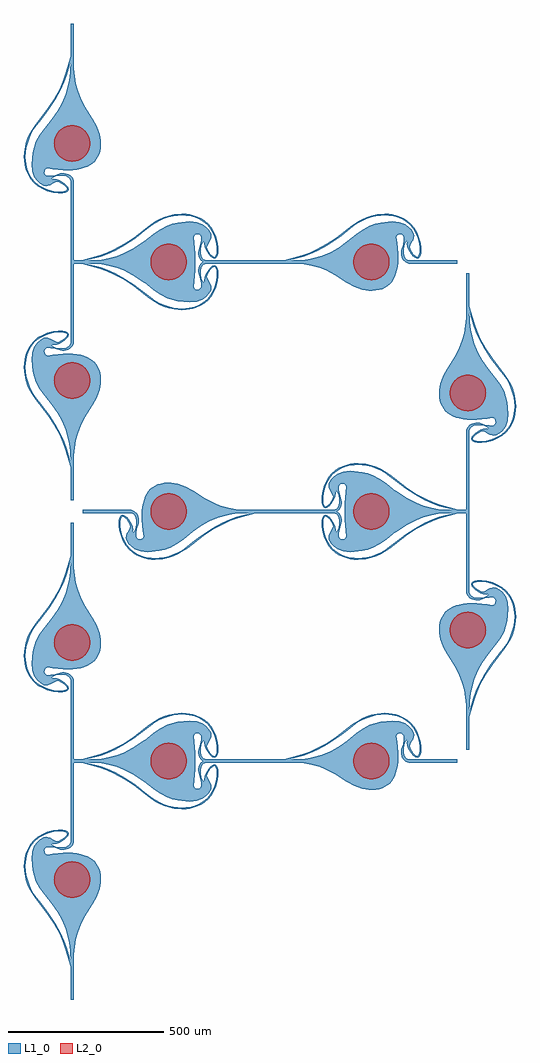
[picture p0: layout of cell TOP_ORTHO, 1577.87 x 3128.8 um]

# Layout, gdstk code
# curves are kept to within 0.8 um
from math import pi, radians
import gdstk
lib = gdstk.Library(unit=1e-6, precision=1e-09)
def R(c, l, rs):  # rectangles x0, y0, x1, y1
    for r in rs: c.add(gdstk.rectangle(r[:2], r[2:], *l))
def P(c, l, *ps):  # polygons
    for p in ps: c.add(gdstk.Polygon(p, *l))
L1_0 = (1, 0)
L2_0 = (2, 0)

network = lib.new_cell('NETWORK')
R(network, L1_0, [(-964.511,-764.401,-954.401,-684.401), (-964.511,684.401,-954.401,764.401)])
P(network, L1_0, [(195.591,-4.995),(120.058,-5.021),(110.872,-1.57),(102.58,5.22),(98.087,12.881),(95.188,24.691),(96.203,37.536),(101.431,54.653),(103.819,68.998),(104.388,80.725),(99.759,86.638),(107.162,81.625),(117.642,69.984),(109.311,62.052),(104.875,51.672),(103.181,39.579),(102.982,28.296),(105.252,19.326),(106.476,15.105),(111.172,9.114),(120.058,5.004),(195.607,5)],
  [(-304.401,5.055),(-212.49,6.7),(-194.618,9.967),(-158.072,20.102),(-130.295,31.756),(-104.294,46.08),(-28.202,103.116),(-4.748,116.035),(12.093,121.969),(29.946,126.092),(66.978,129.939),(89.639,127.445),(107.815,120.933),(120.445,111.69),(129.248,102.594),(136.278,90.425),(137.131,83.385),(136.278,77.228),(130.082,64.219),(117.642,69.984),(107.162,81.625),(95.596,88.651),(88.915,88.384),(83.392,85.713),(79.817,80.188),(84.517,44.342),(85.91,12.673),(83.996,-14.819),(78.773,-38.135),(70.243,-57.274),(58.405,-72.236),(43.26,-83.021),(24.807,-89.629),(3.047,-92.061),(-9.074,-91.71),(-29.325,-88.491),(-55.516,-79.23),(-78.163,-66.655),(-115.687,-42.773),(-144.572,-27.262),(-166.06,-18.969),(-191.816,-11.576),(-215.002,-7.742),(-240.125,-5.783),(-304.401,-5.055)],
  [(-263.67,5.041),(-278.766,5.044),(-221.005,21.817),(-198.32,29.804),(-174.344,40.317),(-142.962,57.572),(-112.162,78.167),(-61.065,117.225),(-42.83,129.712),(-29.428,137.356),(-14.99,143.497),(0.181,148.339),(18.408,152.322),(42.859,154.481),(67.499,152.377),(87.56,147.16),(104.407,139.537),(115.337,132.451),(126.247,122.852),(137.883,109.311),(146.904,93.227),(152.588,79.122),(157.621,59.849),(159.844,45.138),(159.65,29.909),(157.754,22.131),(154.553,15.862),(151.293,11.774),(146.582,10.508),(140.13,12.89),(127.85,24.606),(118.361,40.228),(115.353,49.493),(113.896,58.081),(114.449,64.58),(117.642,69.984),(130.082,64.219),(122.916,48.303),(123.942,41.344),(133.99,24.606),(139.843,19.298),(147.04,15.209),(151.851,20.701),(154.642,31.302),(154.741,45.699),(152.783,58.318),(147.882,77.189),(142.522,90.789),(133.439,106.537),(123.384,118.894),(111.612,129.152),(98.805,136.929),(82.984,143.468),(66.13,147.516),(55.008,148.889),(42.334,149.411),(29.464,148.627),(14.228,146.406),(-0.611,142.742),(-14.918,137.845),(-28.441,131.968),(-43.285,123.797),(-57.996,113.705),(-110.341,73.271),(-140.086,53.586),(-171.77,35.955),(-197.004,24.904),(-218.214,17.354)],
  [(-454.409,-4.995),(-529.942,-5.021),(-539.128,-1.57),(-547.42,5.22),(-551.913,12.881),(-554.812,24.691),(-553.797,37.536),(-548.569,54.653),(-546.181,68.998),(-545.612,80.725),(-550.241,86.638),(-542.838,81.625),(-532.358,69.984),(-540.689,62.052),(-545.125,51.672),(-546.819,39.579),(-547.018,28.296),(-544.748,19.326),(-543.524,15.105),(-538.828,9.114),(-529.942,5.004),(-454.393,5)],
  [(-954.401,5.055),(-862.49,6.7),(-844.618,9.967),(-808.072,20.102),(-780.295,31.756),(-754.294,46.08),(-678.202,103.116),(-654.748,116.035),(-637.907,121.969),(-620.054,126.092),(-583.022,129.939),(-560.361,127.445),(-542.185,120.933),(-529.555,111.69),(-520.752,102.594),(-513.722,90.425),(-512.869,83.385),(-513.722,77.228),(-519.918,64.219),(-532.358,69.984),(-542.838,81.625),(-554.404,88.651),(-561.085,88.384),(-566.608,85.713),(-570.183,80.188),(-565.483,44.342),(-564.09,12.673),(-566.004,-14.819),(-571.227,-38.135),(-579.757,-57.274),(-591.595,-72.236),(-606.74,-83.021),(-625.193,-89.629),(-646.953,-92.061),(-659.074,-91.71),(-679.325,-88.491),(-705.516,-79.23),(-728.163,-66.655),(-765.687,-42.773),(-794.572,-27.262),(-816.06,-18.969),(-841.816,-11.576),(-865.002,-7.742),(-890.125,-5.783),(-954.401,-5.055)],
  [(-913.67,5.041),(-928.766,5.044),(-871.005,21.817),(-848.32,29.804),(-824.344,40.317),(-792.962,57.572),(-762.162,78.167),(-711.065,117.225),(-692.83,129.712),(-679.428,137.356),(-664.99,143.497),(-649.819,148.339),(-631.592,152.322),(-607.141,154.481),(-582.501,152.377),(-562.44,147.16),(-545.593,139.537),(-534.663,132.451),(-523.753,122.852),(-512.117,109.311),(-503.096,93.227),(-497.412,79.122),(-492.379,59.849),(-490.156,45.138),(-490.35,29.909),(-492.246,22.131),(-495.447,15.862),(-498.707,11.774),(-503.418,10.508),(-509.87,12.89),(-522.15,24.606),(-531.639,40.228),(-534.647,49.493),(-536.104,58.081),(-535.551,64.58),(-532.358,69.984),(-519.918,64.219),(-527.084,48.303),(-526.058,41.344),(-516.01,24.606),(-510.157,19.298),(-502.96,15.209),(-498.149,20.701),(-495.358,31.302),(-495.259,45.699),(-497.217,58.318),(-502.118,77.189),(-507.478,90.789),(-516.561,106.537),(-526.616,118.894),(-538.388,129.152),(-551.195,136.929),(-567.016,143.468),(-583.87,147.516),(-594.992,148.889),(-607.666,149.411),(-620.536,148.627),(-635.772,146.406),(-650.611,142.742),(-664.918,137.845),(-678.441,131.968),(-693.285,123.797),(-707.996,113.705),(-760.341,73.271),(-790.086,53.586),(-821.77,35.955),(-847.004,24.904),(-868.214,17.354)],
  [(-454.409,4.995),(-529.942,5.021),(-539.128,1.57),(-547.42,-5.22),(-551.913,-12.881),(-554.812,-24.691),(-553.797,-37.536),(-548.569,-54.653),(-546.181,-68.998),(-545.612,-80.725),(-550.241,-86.638),(-542.838,-81.625),(-532.358,-69.984),(-540.689,-62.052),(-545.125,-51.672),(-546.819,-39.579),(-547.018,-28.296),(-544.748,-19.326),(-543.524,-15.105),(-538.828,-9.114),(-529.942,-5.004),(-454.393,-5)],
  [(-954.401,-5.055),(-862.49,-6.7),(-844.618,-9.967),(-808.072,-20.102),(-780.295,-31.756),(-754.294,-46.08),(-678.202,-103.116),(-654.748,-116.035),(-637.907,-121.969),(-620.054,-126.092),(-583.022,-129.939),(-560.361,-127.445),(-542.185,-120.933),(-529.555,-111.69),(-520.752,-102.594),(-513.722,-90.425),(-512.869,-83.385),(-513.722,-77.228),(-519.918,-64.219),(-532.358,-69.984),(-542.838,-81.625),(-554.404,-88.651),(-561.085,-88.384),(-566.608,-85.713),(-570.183,-80.188),(-565.483,-44.342),(-564.09,-12.673),(-566.004,14.819),(-571.227,38.135),(-579.757,57.274),(-591.595,72.236),(-606.74,83.021),(-625.193,89.629),(-646.953,92.061),(-659.074,91.71),(-679.325,88.491),(-705.516,79.23),(-728.163,66.655),(-765.687,42.773),(-794.572,27.262),(-816.06,18.969),(-841.816,11.576),(-865.002,7.742),(-890.125,5.783),(-954.401,5.055)],
  [(-913.67,-5.041),(-928.766,-5.044),(-871.005,-21.817),(-848.32,-29.804),(-824.344,-40.317),(-792.962,-57.572),(-762.162,-78.167),(-711.065,-117.225),(-692.83,-129.712),(-679.428,-137.356),(-664.99,-143.497),(-649.819,-148.339),(-631.592,-152.322),(-607.141,-154.481),(-582.501,-152.377),(-562.44,-147.16),(-545.593,-139.537),(-534.663,-132.451),(-523.753,-122.852),(-512.117,-109.311),(-503.096,-93.227),(-497.412,-79.122),(-492.379,-59.849),(-490.156,-45.138),(-490.35,-29.909),(-492.246,-22.131),(-495.447,-15.862),(-498.707,-11.774),(-503.418,-10.508),(-509.87,-12.89),(-522.15,-24.606),(-531.639,-40.228),(-534.647,-49.493),(-536.104,-58.081),(-535.551,-64.58),(-532.358,-69.984),(-519.918,-64.219),(-527.084,-48.303),(-526.058,-41.344),(-516.01,-24.606),(-510.157,-19.298),(-502.96,-15.209),(-498.149,-20.701),(-495.358,-31.302),(-495.259,-45.699),(-497.217,-58.318),(-502.118,-77.189),(-507.478,-90.789),(-516.561,-106.537),(-526.616,-118.894),(-538.388,-129.152),(-551.195,-136.929),(-567.016,-143.468),(-583.87,-147.516),(-594.992,-148.889),(-607.666,-149.411),(-620.536,-148.627),(-635.772,-146.406),(-650.611,-142.742),(-664.918,-137.845),(-678.441,-131.968),(-693.285,-123.797),(-707.996,-113.705),(-760.341,-73.271),(-790.086,-53.586),(-821.77,-35.955),(-847.004,-24.904),(-868.214,-17.354)],
  [(-954.461,184.409),(-954.435,259.942),(-957.886,269.128),(-964.676,277.42),(-972.337,281.913),(-984.147,284.812),(-996.992,283.797),(-1014.109,278.569),(-1028.454,276.181),(-1040.181,275.612),(-1046.094,280.241),(-1041.081,272.838),(-1029.44,262.358),(-1021.508,270.689),(-1011.128,275.125),(-999.035,276.819),(-987.752,277.018),(-978.782,274.748),(-974.561,273.524),(-968.57,268.828),(-964.46,259.942),(-964.456,184.393)],
  [(-964.511,684.401),(-966.156,592.49),(-969.423,574.618),(-979.558,538.072),(-991.212,510.295),(-1005.536,484.294),(-1062.572,408.202),(-1075.491,384.748),(-1081.425,367.907),(-1085.548,350.054),(-1089.395,313.022),(-1086.901,290.361),(-1080.389,272.185),(-1071.146,259.555),(-1062.05,250.752),(-1049.881,243.722),(-1042.841,242.869),(-1036.684,243.722),(-1023.675,249.918),(-1029.44,262.358),(-1041.081,272.838),(-1048.107,284.404),(-1047.84,291.085),(-1045.169,296.608),(-1039.644,300.183),(-1003.798,295.483),(-972.129,294.09),(-944.637,296.004),(-921.321,301.227),(-902.182,309.757),(-887.22,321.595),(-876.435,336.74),(-869.827,355.193),(-867.395,376.953),(-867.746,389.074),(-870.965,409.325),(-880.226,435.516),(-892.801,458.163),(-916.683,495.687),(-932.194,524.572),(-940.487,546.06),(-947.88,571.816),(-951.714,595.002),(-953.673,620.125),(-954.401,684.401)],
  [(-964.497,643.67),(-964.5,658.766),(-981.273,601.005),(-989.26,578.32),(-999.773,554.344),(-1017.028,522.962),(-1037.623,492.162),(-1076.681,441.065),(-1089.168,422.83),(-1096.812,409.428),(-1102.953,394.99),(-1107.795,379.819),(-1111.778,361.592),(-1113.937,337.141),(-1111.833,312.501),(-1106.616,292.44),(-1098.993,275.593),(-1091.907,264.663),(-1082.308,253.753),(-1068.767,242.117),(-1052.683,233.096),(-1038.578,227.412),(-1019.305,222.379),(-1004.594,220.156),(-989.365,220.35),(-981.587,222.246),(-975.318,225.447),(-971.23,228.707),(-969.964,233.418),(-972.346,239.87),(-984.062,252.15),(-999.684,261.639),(-1008.949,264.647),(-1017.537,266.104),(-1024.036,265.551),(-1029.44,262.358),(-1023.675,249.918),(-1007.759,257.084),(-1000.8,256.058),(-984.062,246.01),(-978.754,240.157),(-974.665,232.96),(-980.157,228.149),(-990.758,225.358),(-1005.155,225.259),(-1017.774,227.217),(-1036.645,232.118),(-1050.245,237.478),(-1065.993,246.561),(-1078.35,256.616),(-1088.608,268.388),(-1096.385,281.195),(-1102.924,297.016),(-1106.972,313.87),(-1108.345,324.992),(-1108.867,337.666),(-1108.083,350.536),(-1105.862,365.772),(-1102.198,380.611),(-1097.301,394.918),(-1091.424,408.441),(-1083.253,423.285),(-1073.161,437.996),(-1032.727,490.341),(-1013.042,520.086),(-995.411,551.77),(-984.36,577.004),(-976.81,598.214)],
  [(-954.461,-184.409),(-954.435,-259.942),(-957.886,-269.128),(-964.676,-277.42),(-972.337,-281.913),(-984.147,-284.812),(-996.992,-283.797),(-1014.109,-278.569),(-1028.454,-276.181),(-1040.181,-275.612),(-1046.094,-280.241),(-1041.081,-272.838),(-1029.44,-262.358),(-1021.508,-270.689),(-1011.128,-275.125),(-999.035,-276.819),(-987.752,-277.018),(-978.782,-274.748),(-974.561,-273.524),(-968.57,-268.828),(-964.46,-259.942),(-964.456,-184.393)],
  [(-964.511,-684.401),(-966.156,-592.49),(-969.423,-574.618),(-979.558,-538.072),(-991.212,-510.295),(-1005.536,-484.294),(-1062.572,-408.202),(-1075.491,-384.748),(-1081.425,-367.907),(-1085.548,-350.054),(-1089.395,-313.022),(-1086.901,-290.361),(-1080.389,-272.185),(-1071.146,-259.555),(-1062.05,-250.752),(-1049.881,-243.722),(-1042.841,-242.869),(-1036.684,-243.722),(-1023.675,-249.918),(-1029.44,-262.358),(-1041.081,-272.838),(-1048.107,-284.404),(-1047.84,-291.085),(-1045.169,-296.608),(-1039.644,-300.183),(-1003.798,-295.483),(-972.129,-294.09),(-944.637,-296.004),(-921.321,-301.227),(-902.182,-309.757),(-887.22,-321.595),(-876.435,-336.74),(-869.827,-355.193),(-867.395,-376.953),(-867.746,-389.074),(-870.965,-409.325),(-880.226,-435.516),(-892.801,-458.163),(-916.683,-495.687),(-932.194,-524.572),(-940.487,-546.06),(-947.88,-571.816),(-951.714,-595.002),(-953.673,-620.125),(-954.401,-684.401)],
  [(-964.497,-643.67),(-964.5,-658.766),(-981.273,-601.005),(-989.26,-578.32),(-999.773,-554.344),(-1017.028,-522.962),(-1037.623,-492.162),(-1076.681,-441.065),(-1089.168,-422.83),(-1096.812,-409.428),(-1102.953,-394.99),(-1107.795,-379.819),(-1111.778,-361.592),(-1113.937,-337.141),(-1111.833,-312.501),(-1106.616,-292.44),(-1098.993,-275.593),(-1091.907,-264.663),(-1082.308,-253.753),(-1068.767,-242.117),(-1052.683,-233.096),(-1038.578,-227.412),(-1019.305,-222.379),(-1004.594,-220.156),(-989.365,-220.35),(-981.587,-222.246),(-975.318,-225.447),(-971.23,-228.707),(-969.964,-233.418),(-972.346,-239.87),(-984.062,-252.15),(-999.684,-261.639),(-1008.949,-264.647),(-1017.537,-266.104),(-1024.036,-265.551),(-1029.44,-262.358),(-1023.675,-249.918),(-1007.759,-257.084),(-1000.8,-256.058),(-984.062,-246.01),(-978.754,-240.157),(-974.665,-232.96),(-980.157,-228.149),(-990.758,-225.358),(-1005.155,-225.259),(-1017.774,-227.217),(-1036.645,-232.118),(-1050.245,-237.478),(-1065.993,-246.561),(-1078.35,-256.616),(-1088.608,-268.388),(-1096.385,-281.195),(-1102.924,-297.016),(-1106.972,-313.87),(-1108.345,-324.992),(-1108.867,-337.666),(-1108.083,-350.536),(-1105.862,-365.772),(-1102.198,-380.611),(-1097.301,-394.918),(-1091.424,-408.441),(-1083.253,-423.285),(-1073.161,-437.996),(-1032.727,-490.341),(-1013.042,-520.086),(-995.411,-551.77),(-984.36,-577.004),(-976.81,-598.214)],
  [(-454.393,5),(-454.409,-4.995),(-304.401,-5.055),(-304.401,5.055)],
  [(-964.461,-5.055),(-954.401,-5.055),(-954.461,184.409),(-964.456,184.393)],
  [(-964.461,5.055),(-954.401,5.055),(-954.461,-184.409),(-964.456,-184.393)],
  [(195.607,5),(195.591,-4.995),(275.591,-4.995),(275.607,5)])
P(network, L2_0, [(58,0),(56.952,10.977),(53.845,21.556),(48.793,31.357),(41.977,40.025),(32.127,48.289),(22.408,53.497),(11.879,56.771),(0.92,57.993),(-11.879,56.771),(-22.408,53.497),(-32.127,48.289),(-40.686,41.336),(-47.773,32.889),(-53.134,23.254),(-56.952,10.977),(-58,0),(-56.952,-10.977),(-53.845,-21.556),(-48.793,-31.357),(-41.977,-40.025),(-32.127,-48.289),(-22.408,-53.497),(-11.879,-56.771),(-0.92,-57.993),(11.879,-56.771),(22.408,-53.497),(32.127,-48.289),(40.686,-41.336),(47.773,-32.889),(53.134,-23.254),(56.952,-10.977)],
  [(-592,0),(-593.048,10.977),(-596.155,21.556),(-601.207,31.357),(-608.023,40.025),(-617.873,48.289),(-627.592,53.497),(-638.121,56.771),(-649.08,57.993),(-661.879,56.771),(-672.408,53.497),(-682.127,48.289),(-690.686,41.336),(-697.773,32.889),(-703.134,23.254),(-706.952,10.977),(-708,0),(-706.952,-10.977),(-703.845,-21.556),(-698.793,-31.357),(-691.977,-40.025),(-682.127,-48.289),(-672.408,-53.497),(-661.879,-56.771),(-650.92,-57.993),(-638.121,-56.771),(-627.592,-53.497),(-617.873,-48.289),(-609.314,-41.336),(-602.227,-32.889),(-596.866,-23.254),(-593.048,-10.977)],
  [(-901.456,380),(-902.504,390.977),(-905.611,401.556),(-910.663,411.357),(-917.479,420.025),(-927.329,428.289),(-937.048,433.497),(-947.577,436.771),(-958.536,437.993),(-971.335,436.771),(-981.864,433.497),(-991.583,428.289),(-1000.142,421.336),(-1007.229,412.889),(-1012.59,403.254),(-1016.408,390.977),(-1017.456,380),(-1016.408,369.023),(-1013.301,358.444),(-1008.249,348.643),(-1001.433,339.975),(-991.583,331.711),(-981.864,326.503),(-971.335,323.229),(-960.376,322.007),(-947.577,323.229),(-937.048,326.503),(-927.329,331.711),(-918.77,338.664),(-911.683,347.111),(-906.322,356.746),(-902.504,369.023)],
  [(-901.456,-380),(-902.504,-369.023),(-905.611,-358.444),(-910.663,-348.643),(-917.479,-339.975),(-927.329,-331.711),(-937.048,-326.503),(-947.577,-323.229),(-958.536,-322.007),(-971.335,-323.229),(-981.864,-326.503),(-991.583,-331.711),(-1000.142,-338.664),(-1007.229,-347.111),(-1012.59,-356.746),(-1016.408,-369.023),(-1017.456,-380),(-1016.408,-390.977),(-1013.301,-401.556),(-1008.249,-411.357),(-1001.433,-420.025),(-991.583,-428.289),(-981.864,-433.497),(-971.335,-436.771),(-960.376,-437.993),(-947.577,-436.771),(-937.048,-433.497),(-927.329,-428.289),(-918.77,-421.336),(-911.683,-412.889),(-906.322,-403.254),(-902.504,-390.977)])

top_ortho = lib.new_cell('TOP_ORTHO')
top_ortho.add(gdstk.Reference(network, (0,0)))
top_ortho.add(gdstk.Reference(network, (0,1600)))
top_ortho.add(gdstk.Reference(network, (-650,800), rotation=pi))

lib.write_gds('TOP_ORTHO.gds')
